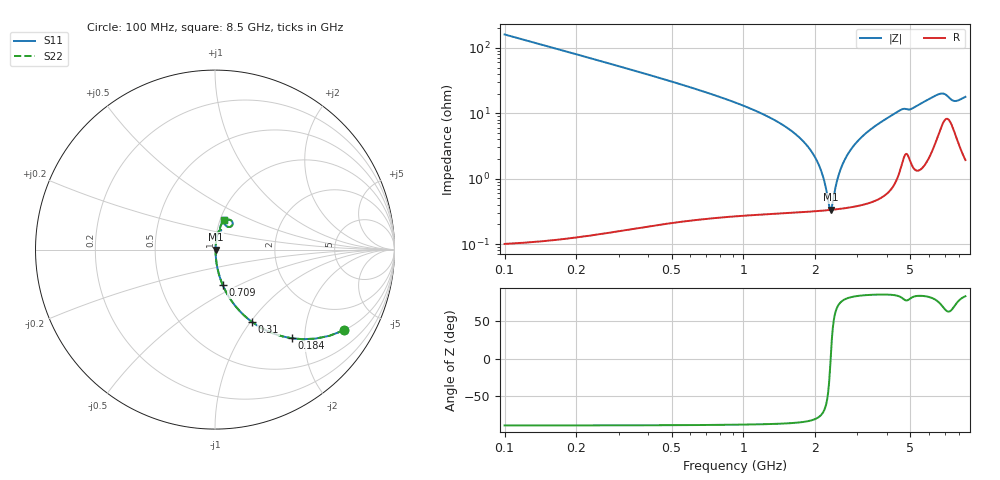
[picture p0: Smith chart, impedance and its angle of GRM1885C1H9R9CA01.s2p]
!Murata Part Number: GRM1885C1H9R9CA01
!These Parameters are Measured in Series Mode Connection
!Data Generated on Mar 30, 2021
!  o--ll--o
!Port1  Port2
!  o------o
!Operation Temp=25[degC], DC Bias Voltage=0[V]
!Freq. Start=100[MHz] Stop=9[GHz] 401[Steps]
# Hz S RI R 50
!Freq.(Hz) S11(Real) S11(Imag) S21(Real) S21(Imag) S12(Real) S12(Imag) S22(Real) S22(Imag)
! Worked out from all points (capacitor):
!   401 points, 100 MHz to 8.5 GHz, reference 50 ohm
!   read as one part in series: C = 9.91 pF near 142 MHz
!   lowest |Z| = 336 mohm at 2.326 GHz (marker M1)
!   series resonance near 2.318 GHz, so ESL is about 480 pH
!   S11 on the Smith chart (normalised r, x): 100 MHz: 1.00, -3.21; 184 MHz: 1.00, -1.74; 310 MHz: 1.00, -1.02; 709 MHz: 1.00, -0.41; 8.5 GHz: 1.04, +0.35
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1e8  0.72 -0.4487  0.28 0.4487  0.28 0.4487  0.72 -0.4487
1.84e8  0.4295 -0.4943  0.5705 0.4943  0.5705 0.4943  0.4295 -0.4943
3.1e8  0.2062 -0.403  0.7938 0.403  0.7938 0.403  0.2062 -0.403
4.57e8  0.1036 -0.3018  0.8964 0.3018  0.8964 0.3018  0.1036 -0.3018
7.09e8  0.0425 -0.1958  0.9575 0.1958  0.9575 0.1958  0.0425 -0.1958
1.507e9  0.00671 -0.061  0.9933 0.061  0.9933 0.061  0.00671 -0.061
1.801e9  0.00432 -0.0352  0.9957 0.0352  0.9957 0.0352  0.00432 -0.0352
2.011e9  0.00356 -0.0197  0.9964 0.0197  0.9964 0.0197  0.00356 -0.0197
2.137e9  0.00335 -0.0113  0.9966 0.0113  0.9966 0.0113  0.00335 -0.0113
2.284e9  0.0033 -0.00207  0.9967 0.00207  0.9967 0.00207  0.0033 -0.00207
2.326e9  0.00332 0.000456  0.9967 -0.000456  0.9967 -0.000456  0.00332 0.000456
2.473e9  0.00348 0.00899  0.9965 -0.00899  0.9965 -0.00899  0.00348 0.00899
2.578e9  0.00368 0.0148  0.9963 -0.0148  0.9963 -0.0148  0.00368 0.0148
2.725e9  0.00408 0.0227  0.9959 -0.0227  0.9959 -0.0227  0.00408 0.0227
2.914e9  0.00476 0.0323  0.9952 -0.0323  0.9952 -0.0323  0.00476 0.0323
3.46e9  0.00779 0.0582  0.9922 -0.0582  0.9922 -0.0582  0.00779 0.0582
4.3e9  0.0177 0.0963  0.9823 -0.0963  0.9823 -0.0963  0.0177 0.0963
5.707e9  0.0362 0.1416  0.9638 -0.1416  0.9638 -0.1416  0.0362 0.1416
6.61e9  0.079 0.1669  0.921 -0.1669  0.921 -0.1669  0.079 0.1669
7.114e9  0.0978 0.1396  0.9022 -0.1396  0.9022 -0.1396  0.0978 0.1396
7.66e9  0.0661 0.1293  0.9339 -0.1293  0.9339 -0.1293  0.0661 0.1293
8.5e9  0.0477 0.1658  0.9523 -0.1658  0.9523 -0.1658  0.0477 0.1658
